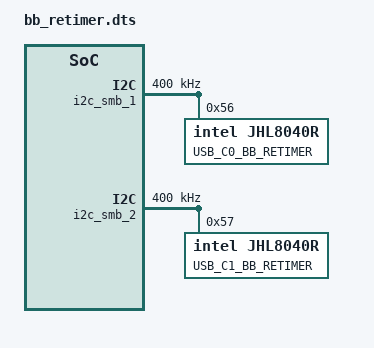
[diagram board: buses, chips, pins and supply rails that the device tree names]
/* Copyright 2022 The ChromiumOS Authors
 * Use of this source code is governed by a BSD-style license that can be
 * found in the LICENSE file.
 */

&i2c_smb_1 {
	status = "okay";
	clock-frequency = <I2C_BITRATE_FAST>;

	usb_c0_bb_retimer: jhl8040r@56 {
		compatible = "intel,jhl8040r";
		reg = <0x56>;
		label = "USB_C0_BB_RETIMER";
		reset-pin = <&usb_c0_bb_retimer_rst>;
	};
};

&i2c_smb_2 {
	status = "okay";
	clock-frequency = <I2C_BITRATE_FAST>;

	usb_c1_bb_retimer: jhl8040r@57 {
		compatible = "intel,jhl8040r";
		reg = <0x57>;
		label = "USB_C1_BB_RETIMER";
		reset-pin = <&usb_c1_bb_retimer_rst>;
	};
};
